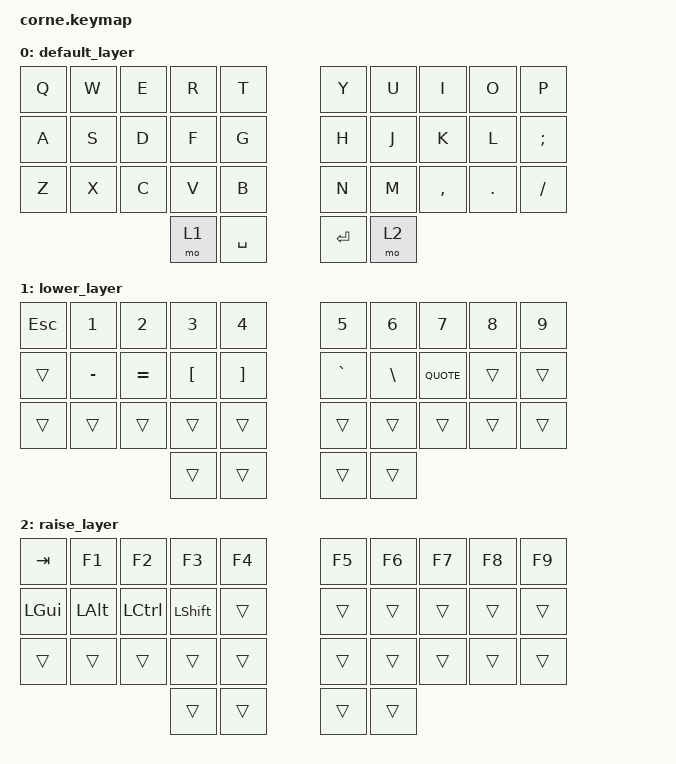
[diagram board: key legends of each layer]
/ {
    keymap {
        compatible = "zmk,keymap";

        default_layer {
            bindings = <
                &kp Q &kp W &kp E &kp R &kp T      &kp Y &kp U &kp I &kp O &kp P
                &kp A &kp S &kp D &kp F &kp G      &kp H &kp J &kp K &kp L &kp SCLN
                &kp Z &kp X &kp C &kp V &kp B      &kp N &kp M &kp COMMA &kp DOT &kp SLASH
                            &mo 1 &kp SPACE        &kp ENTER &mo 2
            >;
        };

        lower_layer {
            bindings = <
                &kp ESC &kp 1 &kp 2 &kp 3 &kp 4     &kp 5 &kp 6 &kp 7 &kp 8 &kp 9
                &trans &kp MINUS &kp EQUAL &kp LBKT &kp RBKT  &kp GRAVE &kp BACKSLASH &kp QUOTE &trans &trans
                &trans &trans &trans &trans &trans   &trans &trans &trans &trans &trans
                            &trans &trans            &trans &trans
            >;
        };

        raise_layer {
            bindings = <
                &kp TAB &kp F1 &kp F2 &kp F3 &kp F4   &kp F5 &kp F6 &kp F7 &kp F8 &kp F9
                &kp LGUI &kp LALT &kp LCTRL &kp LSHIFT &trans  &trans &trans &trans &trans &trans
                &trans &trans &trans &trans &trans   &trans &trans &trans &trans &trans
                            &trans &trans            &trans &trans
            >;
        };
    };
};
